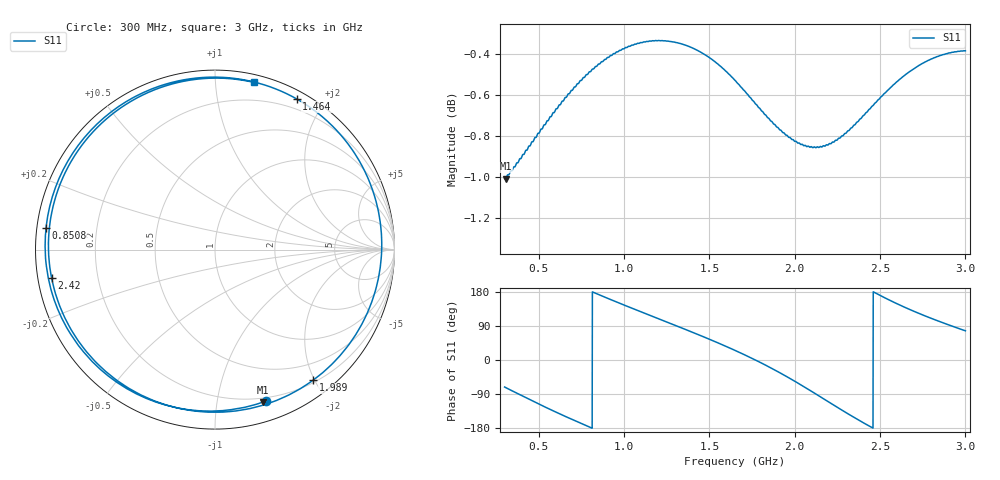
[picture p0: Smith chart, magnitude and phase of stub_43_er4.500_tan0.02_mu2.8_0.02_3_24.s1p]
! Chirptenna · simulación 3D de un stub abierto
# HZ S RI R 50
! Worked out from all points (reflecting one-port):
!   2001 points, 300 MHz to 3 GHz, reference 50 ohm
!   lowest |S11| = -1.0 dB at 305.4 MHz (marker M1), VSWR 17.25, Z = 8.23 - j67.5 ohm
!   phase of S11 starts at -71 deg and turns -572 deg over the sweep
!   S11 on the Smith chart (normalised r, x): 300 MHz: 0.17, -1.38; 850.8 MHz: 0.03, +0.06; 1.464 GHz: 0.09, +1.67; 1.989 GHz: 0.23, -1.98; 2.42 GHz: 0.04, -0.09; 3 GHz: 0.06, +1.25
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3e8  0.2856 -0.8433
3.054e8  0.267 -0.8494
3.837e8  -0.00556 -0.8994
4.647e8  -0.2871 -0.8625
5.484e8  -0.5467 -0.7396
6.375e8  -0.7627 -0.532
7.455e8  -0.916 -0.2139
8.508e8  -0.9418 0.1196
9.75e8  -0.825 0.4844
1.1505e9  -0.4506 0.8496
1.3125e9  0.0152 0.9606
1.4637e9  0.4545 0.8399
1.55415e9  0.6776 0.6644
1.65e9  0.8498 0.4036
1.7391e9  0.9255 0.108
1.8228e9  0.9026 -0.1933
1.90515e9  0.7786 -0.4822
1.9875e9  0.5516 -0.7239
1.98885e9  0.5471 -0.7274
2.0739e9  0.2211 -0.8792
2.1549e9  -0.1324 -0.8967
2.23455e9  -0.4638 -0.7821
2.325e9  -0.7543 -0.519
2.4195e9  -0.9101 -0.1595
2.53155e9  -0.8946 0.2696
2.6625e9  -0.6738 0.6621
2.8245e9  -0.2568 0.9177
3e9  0.2145 0.9321
